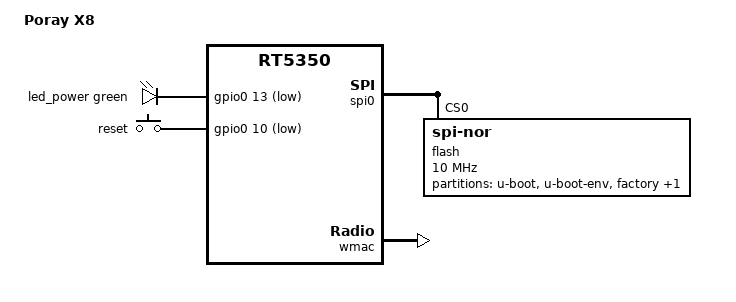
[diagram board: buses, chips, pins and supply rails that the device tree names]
#include "rt5350.dtsi"

#include <dt-bindings/gpio/gpio.h>
#include <dt-bindings/input/input.h>
#include <dt-bindings/leds/common.h>

/ {
	compatible = "poray,x8", "ralink,rt5350-soc";
	model = "Poray X8";

	aliases {
		led-boot = &led_power;
		led-failsafe = &led_power;
		led-running = &led_power;
		led-upgrade = &led_power;
	};

	leds {
		compatible = "gpio-leds";

		led_power: power {
			function = LED_FUNCTION_POWER;
			color = <LED_COLOR_ID_GREEN>;
			gpios = <&gpio0 13 GPIO_ACTIVE_LOW>;
		};
	};

	keys {
		compatible = "gpio-keys-polled";
		poll-interval = <20>;

		reset {
			label = "reset";
			gpios = <&gpio0 10 GPIO_ACTIVE_LOW>;
			linux,code = <KEY_RESTART>;
		};
	};
};

&spi0 {
	status = "okay";

	flash@0 {
		compatible = "jedec,spi-nor";
		reg = <0>;
		spi-max-frequency = <10000000>;

		partitions {
			compatible = "fixed-partitions";
			#address-cells = <1>;
			#size-cells = <1>;

			partition@0 {
				label = "u-boot";
				reg = <0x0 0x30000>;
				read-only;
			};

			partition@30000 {
				label = "u-boot-env";
				reg = <0x30000 0x10000>;
				read-only;
			};

			partition@40000 {
				label = "factory";
				reg = <0x40000 0x10000>;
				read-only;

				nvmem-layout {
					compatible = "fixed-layout";
					#address-cells = <1>;
					#size-cells = <1>;

					eeprom_factory_0: eeprom@0 {
						reg = <0x0 0x200>;
					};

					macaddr_factory_4: macaddr@4 {
						reg = <0x4 0x6>;
					};
				};
			};

			partition@50000 {
				compatible = "denx,uimage";
				label = "firmware";
				reg = <0x50000 0x7b0000>;
			};
		};
	};
};

&state_default {
	gpio {
		groups = "i2c", "jtag", "uartf";
		function = "gpio";
	};
};

&ethernet {
	nvmem-cells = <&macaddr_factory_4>;
	nvmem-cell-names = "mac-address";
};

&esw {
	mediatek,portmap = <0x2f>;
	mediatek,led_polarity = <1>;
};

&wmac {
	ralink,led-polarity = <1>;
	nvmem-cells = <&eeprom_factory_0>;
	nvmem-cell-names = "eeprom";
};
